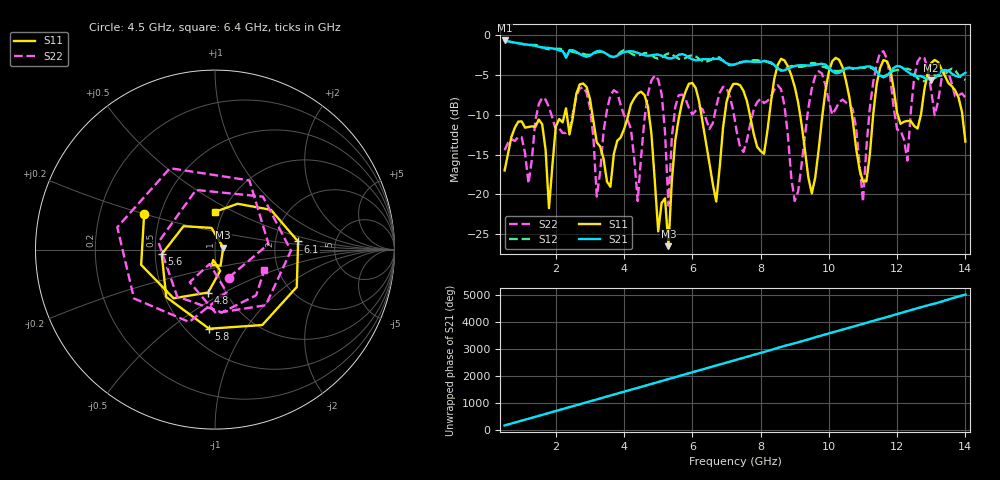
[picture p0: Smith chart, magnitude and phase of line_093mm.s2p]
!Created with skrf (http://scikit-rf.org).
# GHz S RI R 50.0
!freq ReS11 ImS11 ReS21 ImS21 ReS12 ImS12 ReS22 ImS22
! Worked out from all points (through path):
!   136 points, 500 MHz to 14 GHz, reference 50 ohm
!   highest |S21| = -0.66 dB at 500 MHz (marker M1); lowest = -5.6 dB at 13 GHz (marker M2)
!   lowest |S11| = -26.5 dB at 5.3 GHz (marker M3), VSWR 1.10, Z = 54.8 + j1.28 ohm
!   |S11| at or under -10 dB: start of sweep to 2.254 GHz; 3.073 GHz to 4.125 GHz (1.052 GHz wide, 29.2 % of centre); 4.731 GHz to 5.625 GHz (894.2 MHz wide, 17.3 % of centre)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
!   |S22| runs from -21.4 to -2.0 dB; largest |S21 - S12| = 0.057
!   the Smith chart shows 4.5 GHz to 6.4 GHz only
!   S11 on the Smith chart (normalised r, x): 4.5 GHz: 0.41, +0.20; 4.8 GHz: 0.83, -0.42; 5.6 GHz: 0.54, -0.03; 5.8 GHz: 0.64, -0.70; 6.1 GHz: 2.70, +0.31; 6.4 GHz: 0.92, +0.41
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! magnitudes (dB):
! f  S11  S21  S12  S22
! 500 MHz  -17.0  -0.7  -0.7  -14.4
! 1.8 GHz  -21.7  -1.6  -1.8  -9.0
! 2.8 GHz  -6.1  -2.6  -2.3  -6.5
! 3.2 GHz  -13.5  -2.0  -2.2  -20.3
! 3.6 GHz  -19.0  -2.7  -2.7  -7.5
! 4.5 GHz  -7.1  -2.4  -2.4  -15.2
! 4.8 GHz  -12.3  -2.5  -2.5  -5.7
! 5 GHz  -24.6  -2.4  -3.0  -5.6
! 5.3 GHz  -26.5  -2.9  -2.3  -21.4
! 5.6 GHz  -10.5  -2.5  -3.0  -7.5
! 5.8 GHz  -7.1  -2.5  -2.9  -8.0
! 6.1 GHz  -6.6  -3.2  -2.7  -9.5
! 6.4 GHz  -13.5  -3.0  -3.4  -10.5
! 7.3 GHz  -6.1  -3.6  -3.5  -12.1
! 8.6 GHz  -3.0  -4.5  -4.4  -6.8
! 9 GHz  -6.5  -3.9  -3.9  -20.8
! 9.5 GHz  -19.9  -3.8  -3.5  -6.7
! 10.2 GHz  -2.8  -4.8  -4.5  -9.3
! 11 GHz  -18.4  -4.0  -4.1  -20.9
! 11.8 GHz  -4.3  -4.7  -4.7  -5.3
! 13 GHz  -3.5  -5.6  -5.2  -7.0
! 14 GHz  -13.4  -4.7  -5.6  -7.8
